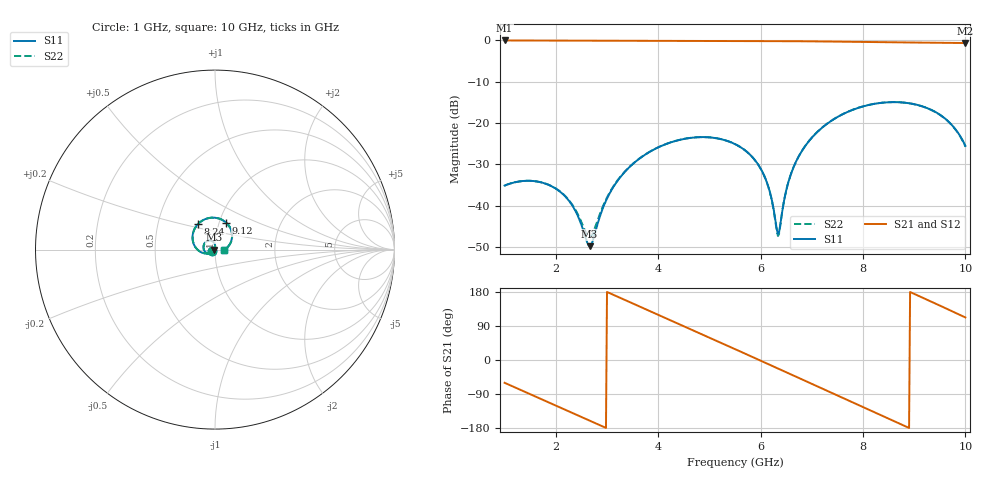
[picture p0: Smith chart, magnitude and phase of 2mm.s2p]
! Touchstone file exported from HFSS 2018.2.0
!  File:  C:/Users/10024/OneDrive - The University of Nottingham Ningbo China/Year 4/Final Year Project/HFSS project/Passive_Resonator_Antenna.aedt
!  Generated:  5:08:11 下午  3月 11, 2022
!  Design:  SMA_Thru
!  Project:  Passive_Resonator_Antenna
!  Setup:  Setup1
!  Solution:  Sweep
! Variables:
!  MW = 2mm
!  ThruL = 10mm
!  g = 0.2mm
!  subH = 0.8mm
!  subX = 20mm
!  subY = 20mm
!  tapW = 1.992mm
# GHZ S MA R 50.000000
! Modal data exported
! Port[1] = SMA_CONNECTOR1_1:1
! Port[2] = SMA_CONNECTOR2_1:1
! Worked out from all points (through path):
!   451 points, 1 GHz to 10 GHz, reference 50 ohm
!   highest |S21| = -0.01 dB at 1 GHz (marker M1); lowest = -0.6 dB at 10 GHz (marker M2)
!   group delay of S21, straight-line fit = 169 ps
!   lowest |S11| = -49.8 dB at 2.66 GHz (marker M3), VSWR 1.01, Z = 49.7 - j0.0748 ohm
!   |S11| at or under -10 dB: start of sweep to end of sweep
!   |S22| runs from -47.6 to -14.9 dB; largest |S21 - S12| = 2.1e-13
!   S11 on the Smith chart (normalised r, x): 1 GHz: 0.97, -0.02; 8.24 GHz: 0.80, +0.24; 9.12 GHz: 1.08, +0.33; 10 GHz: 1.11, +0.00
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1  0.0175 -150.3  0.9985 -60.1  0.9985 -60.1  0.0175 -148.8
! Gamma ! 0.0151858380090882 30.3716836112163 0.0151858380091422 30.3716836111823
! Port Impedance50 0 50 0
1.46  0.02 -176.3  0.9973 -87.8  0.9973 -87.8  0.02002 -174.7
1.92  0.01714 159.2  0.9959 -115.4  0.9959 -115.4  0.01721 161.5
2.26  0.01139 145.2  0.9947 -135.9  0.9947 -135.9  0.01157 149.0
2.5  0.005863 148.1  0.9938 -150.3  0.9938 -150.3  0.006337 155.1
2.66  0.003234 -166.5  0.9932 -160.0  0.9932 -160.0  0.004168 -165.2
3.18  0.01898 -115.0  0.9909 168.7  0.9909 168.7  0.01926 -118.3
3.56  0.03416 -133.1  0.9889 145.8  0.9889 145.8  0.03435 -135.1
4  0.05074 -157.2  0.9865 119.3  0.9865 119.3  0.05088 -158.7
4.72  0.06698 161.5  0.983 75.9  0.983 75.9  0.06705 160.4
5.5  0.05563 116.7  0.9813 28.7  0.9813 28.7  0.0556 115.7
6.04  0.02533 90.1  0.9806 -4.1  0.9806 -4.1  0.0252 88.9
6.18  0.01477 89.3  0.9803 -12.7  0.9803 -12.7  0.0146 87.7
6.34  0.004566 147.2  0.9797 -22.5  0.9797 -22.5  0.004295 147.9
6.6  0.02482 -144.8  0.9782 -38.4  0.9782 -38.4  0.02493 -144.8
7  0.0664 -162.7  0.9741 -63.0  0.9741 -63.0  0.06659 -163.1
7.6  0.1275 162.1  0.9642 -99.9  0.9642 -99.9  0.1277 161.6
8.24  0.1715 123.0  0.9519 -139.0  0.9519 -139.0  0.1717 122.4
8.5  0.1785 106.8  0.9477 -154.9  0.9477 -154.9  0.1786 106.2
9.12  0.1619 67.2  0.9407 167.2  0.9407 167.2  0.1618 66.5
9.62  0.111 32.5  0.9354 136.2  0.9354 136.2  0.1106 31.7
10  0.05273 0.1  0.9282 112.3  0.9282 112.3  0.05195 -1.1
